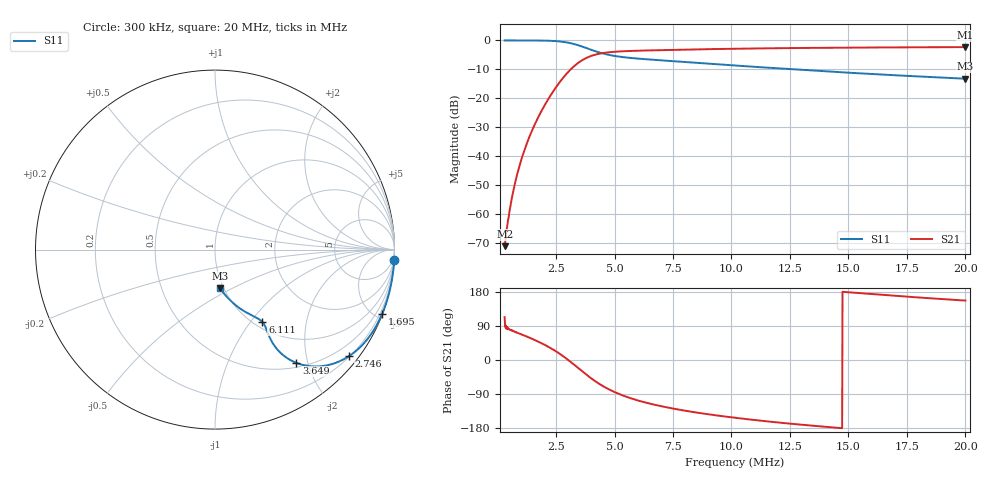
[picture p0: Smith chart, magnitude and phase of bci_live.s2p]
! K9DP QRP BCI filter, live capture
! 0.3-20 MHz, 3 segments x 401, 4 averages
# Hz S RI R 50
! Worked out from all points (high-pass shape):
!   1201 points, 300 kHz to 20 MHz, reference 50 ohm
!   highest |S21| = -2.30 dB at 20 MHz (marker M1); lowest = -71.1 dB at 316.4 kHz (marker M2)
!   |S21| within 3 dB of the highest: 4.017 MHz to end of sweep
!   lowest |S11| = -13.2 dB at 20 MHz (marker M3), VSWR 1.56, Z = 48.1 - j21.8 ohm
!   |S11| at or under -10 dB: 12.68 MHz to end of sweep
!   S12 and S22 are empty: the file has one direction only
!   S11 on the Smith chart (normalised r, x): 300 kHz: -0, -35; 1.695 MHz: 0.03, -5.40; 2.746 MHz: 0.22, -2.84; 3.649 MHz: 0.57, -1.81; 6.111 MHz: 1.09, -1.15; 20 MHz: 0.96, -0.44
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300000  0.9986 -0.0567  -0.000123 0.000288  0 0  0 0
316417  0.9986 -0.06  -2.74e-05 0.000277  0 0  0 0
382083  0.9976 -0.0735  3.1e-05 0.000533  0 0  0 0
611917  0.9928 -0.1212  0.000372 0.00185  0 0  0 0
874583  0.9844 -0.1765  0.0018 0.00526  0 0  0 0
1252167  0.9658 -0.2578  0.00788 0.0147  0 0  0 0
1695417  0.9316 -0.3573  0.0281 0.0332  0 0  0 0
2204333  0.8659 -0.4766  0.0854 0.057  0 0  0 0
2746083  0.7445 -0.5949  0.2071 0.0462  0 0  0 0
3156500  0.6129 -0.6468  0.3234 -0.0374  0 0  0 0
3599750  0.4668 -0.636  0.395 -0.2189  0 0  0 0
3649000  0.4526 -0.6309  0.3959 -0.2424  0 0  0 0
4190750  0.3434 -0.5517  0.3135 -0.4766  0 0  0 0
4683250  0.3028 -0.4856  0.1606 -0.599  0 0  0 0
5274249  0.2835 -0.4368  -0.0188 -0.648  0 0  0 0
6111499  0.2641 -0.4031  -0.2142 -0.6323  0 0  0 0
6883083  0.2432 -0.3868  -0.3445 -0.5862  0 0  0 0
8360583  0.1998 -0.3637  -0.5141 -0.4749  0 0  0 0
1.015e7  0.1524 -0.3367  -0.6379 -0.3329  0 0  0 0
1.344975e7  0.0907 -0.2885  -0.7393 -0.0869  0 0  0 0
1.671667e7  0.0532 -0.2484  -0.7484 0.1239  0 0  0 0
2e7  0.0288 -0.2163  -0.7054 0.3019  0 0  0 0
